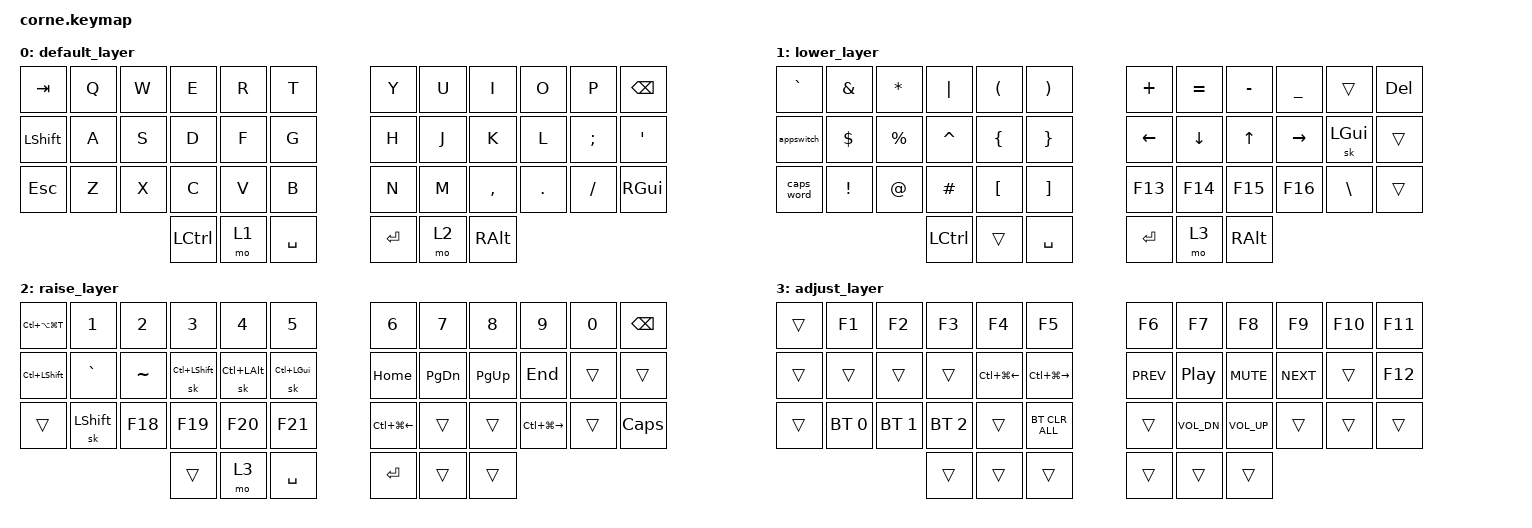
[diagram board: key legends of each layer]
#include <behaviors.dtsi>
#include <dt-bindings/zmk/bt.h>
#include <dt-bindings/zmk/keys.h>

&sk { quick-release; };

/ {
    behaviors {
        caps_word: caps_word {
            compatible = "zmk,behavior-caps-word";
            label = "CAPS_WORD";
            #binding-cells = <0>;
            continue-list = <UNDERSCORE MINUS>;
        };
    };

    combos {
        compatible = "zmk,combos";

        tab {
            bindings = <&kp TAB>;
            key-positions = <19 20>;
            timeout-ms = <50>;
            layers = <0>;
        };

        esc {
            bindings = <&kp ESC>;
            key-positions = <15 16>;
            timeout-ms = <50>;
            layers = <0>;
        };

        cap_word {
            bindings = <&caps_word>;
            key-positions = <17 18>;
        };
    };

    macros {
        appswitch: appswitch {
            compatible = "zmk,behavior-macro";
            #binding-cells = <0>;
            bindings =
                <&macro_press>,
                <&kp LEFT_ALT>,
                <&macro_tap>,
                <&kp TAB>,
                <&macro_tap>,
                <&sk LEFT_ALT>,
                <&macro_release>,
                <&kp LALT>;

            label = "APPSWITCH";
            tap-ms = <40>;
            wait-ms = <100>;
        };
    };

    keymap {
        compatible = "zmk,keymap";

        default_layer {
            bindings = <
&kp TAB     &kp Q  &kp W  &kp E      &kp R  &kp T        &kp Y    &kp U  &kp I      &kp O    &kp P     &kp BSPC
&kp LSHIFT  &kp A  &kp S  &kp D      &kp F  &kp G        &kp H    &kp J  &kp K      &kp L    &kp SEMI  &kp SQT
&kp ESC     &kp Z  &kp X  &kp C      &kp V  &kp B        &kp N    &kp M  &kp COMMA  &kp DOT  &kp FSLH  &kp RIGHT_GUI
                          &kp LCTRL  &mo 1  &kp SPACE    &kp RET  &mo 2  &kp RALT
            >;
        };

        lower_layer {
            bindings = <
&kp GRAVE   &kp AMPS  &kp ASTRK    &kp PIPE   &kp LPAR  &kp RPAR     &kp PLUS  &kp EQUAL  &kp MINUS  &kp UNDER  &trans         &kp DELETE
&appswitch  &kp DLLR  &kp PERCENT  &kp CARET  &kp LBRC  &kp RBRC     &kp LEFT  &kp DOWN   &kp UP     &kp RIGHT  &sk LGUI       &trans
&caps_word  &kp EXCL  &kp AT       &kp HASH   &kp LBKT  &kp RBKT     &kp F13   &kp F14    &kp F15    &kp F16    &kp BACKSLASH  &trans
                                   &kp LCTRL  &trans    &kp SPACE    &kp RET   &mo 3      &kp RALT
            >;
        };

        raise_layer {
            bindings = <
&kp LC(LA(LG(T)))  &kp N1      &kp N2     &kp N3          &kp N4        &kp N5          &kp N6                  &kp N7     &kp N8     &kp N9             &kp N0  &kp BSPC
&kp LC(LSHFT)      &kp GRAVE   &kp TILDE  &sk LC(LSHIFT)  &sk LC(LALT)  &sk LC(LGUI)    &kp HOME                &kp PG_DN  &kp PG_UP  &kp END            &trans  &trans
&trans             &sk LSHIFT  &kp F18    &kp F19         &kp F20       &kp F21         &kp LC(LG(LEFT_ARROW))  &trans     &trans     &kp LC(LG(RIGHT))  &trans  &kp CAPS
                                          &trans          &mo 3         &kp SPACE       &kp RET                 &trans     &trans
            >;
        };

        adjust_layer {
            bindings = <
&trans  &kp F1        &kp F2        &kp F3        &kp F4            &kp F5               &kp F6      &kp F7            &kp F8           &kp F9      &kp F10  &kp F11
&trans  &trans        &trans        &trans        &kp LC(LG(LEFT))  &kp LC(LG(RIGHT))    &kp C_PREV  &kp C_PLAY_PAUSE  &kp C_MUTE       &kp C_NEXT  &trans   &kp F12
&trans  &bt BT_SEL 0  &bt BT_SEL 1  &bt BT_SEL 2  &trans            &bt BT_CLR_ALL       &trans      &kp C_VOL_DN      &kp C_VOLUME_UP  &trans      &trans   &trans
                                    &trans        &trans            &trans               &trans      &trans            &trans
            >;
        };
    };
};
